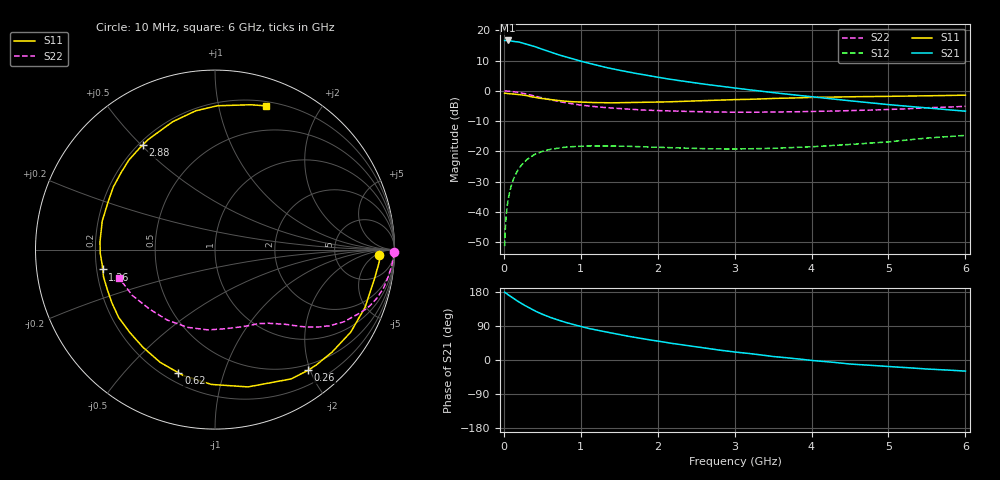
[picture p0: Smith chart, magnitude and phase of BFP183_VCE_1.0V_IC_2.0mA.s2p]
! Infineon Technologies  Discrete & RF Semiconductors
! BFP183
! VCE = 1.0 V,  IC =  2.0 mA
! Common Emitter S-Parameters:  Jan 2016
# GHz  S  MA  R  50
!  f  S11  S21  S12  S22
! GHz  MAG  ANG  MAG  ANG  MAG  ANG  MAG  ANG
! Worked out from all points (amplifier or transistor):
!   210 points, 10 MHz to 6 GHz, reference 50 ohm
!   highest |S21| = 16.7 dB at 50 MHz (marker M1)
!   |S21| within 3 dB of that: start of sweep to 510.5 MHz
!   unconditionally stable (mu >= 1): 2.012 GHz to end of sweep
!   at 185 MHz: K = 0.10, MSG = 21.2 dB, |S12| = -26.1 dB
!   at 1.52 GHz: K = 0.76, MSG = 12.5 dB, |S12| = -18.3 dB
!   at 6 GHz: K = 1.07, MAG = 2.4 dB, |S12| = -14.7 dB
!   S11 on the Smith chart (normalised r, x): 10 MHz: 20, -8; 260 MHz: 0.41, -1.96; 620 MHz: 0.25, -0.72; 1.36 GHz: 0.22, -0.08; 2.88 GHz: 0.22, +0.50; 6 GHz: 0.24, +1.39
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0.01  0.916 -1.9  6.827 179.0  0.0027 87.6  0.9975 -0.9
0.025  0.9147 -5.3  6.821 177.0  0.0069 84.4  0.996 -2.2
0.05  0.9029 -10.6  6.831 173.0  0.0143 85.6  0.9912 -4.4
0.11  0.8914 -23.0  6.645 164.8  0.0304 76.5  0.9746 -9.5
0.2  0.8668 -41.3  6.42 152.6  0.0529 66.7  0.9396 -17.0
0.26  0.8492 -52.4  6.1 145.4  0.0654 60.7  0.9062 -21.3
0.4  0.7868 -76.5  5.424 129.7  0.0888 48.5  0.8235 -29.2
0.5  0.7514 -91.5  4.887 120.5  0.0999 41.2  0.7644 -33.8
0.62  0.7162 -106.5  4.344 111.4  0.1087 34.5  0.7059 -37.7
0.7  0.6985 -115.9  3.997 105.8  0.1132 30.6  0.6734 -39.8
0.8  0.6765 -126.3  3.677 99.4  0.1174 26.3  0.6382 -42.1
1.02  0.6535 -146.4  3.059 87.5  0.1214 19.4  0.5781 -46.2
1.12  0.6445 -154.0  2.843 82.6  0.1229 16.8  0.5597 -47.9
1.36  0.6354 -170.0  2.393 72.8  0.1228 11.9  0.5254 -51.7
1.62  0.6418 174.9  2.055 62.6  0.1212 8.8  0.5001 -55.3
2.02  0.6525 155.8  1.665 49.2  0.1168 6.3  0.4717 -62.0
2.4  0.6766 140.6  1.409 37.5  0.1125 5.6  0.4572 -69.6
2.88  0.7083 124.7  1.168 24.3  0.1095 7.6  0.4454 -79.9
3.1  0.7211 118.5  1.078 19.1  0.1097 8.9  0.4438 -85.3
4.1  0.7833 96.1  0.775 -2.8  0.1212 15.7  0.4597 -112.4
5.1  0.8154 80.8  0.578 -18.5  0.1479 19.0  0.4977 -140.7
6  0.85 70.4  0.462 -29.3  0.1837 14.4  0.5562 -163.2
